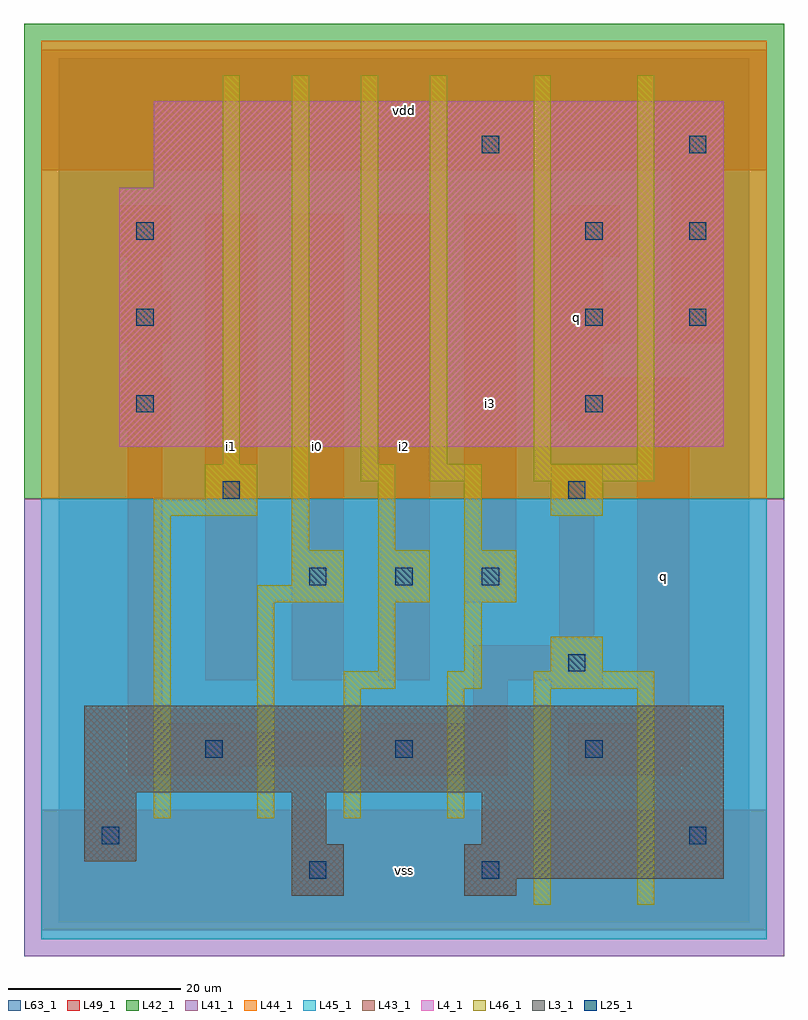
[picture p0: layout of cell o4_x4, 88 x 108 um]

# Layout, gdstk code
import gdstk
lib = gdstk.Library(unit=1e-6, precision=1e-09)
def R(c, l, rs):  # rectangles x0, y0, x1, y1
    for r in rs: c.add(gdstk.rectangle(r[:2], r[2:], *l))
def A(c, l, x, y, w, h, nx, ny, dx, dy):  # array of equal rectangles
    R(c, l, [(x+i*dx, y+j*dy, x+i*dx+w, y+j*dy+h) for i in range(nx) for j in range(ny)])
L3_1 = (3, 1)
L4_1 = (4, 1)
L25_1 = (25, 1)
L41_1 = (41, 1)
L42_1 = (42, 1)
L43_1 = (43, 1)
L44_1 = (44, 1)
L45_1 = (45, 1)
L46_1 = (46, 1)
L49_1 = (49, 1)
L63_1 = (63, 1)

o4_x4 = lib.new_cell('o4_x4')
R(o4_x4, L3_1, [(27,3,33,9), (47,3,53,5), (47,5,77,9), (3,7,9,15), (27,9,31,15), (49,9,77,15), (3,15,77,25)])
R(o4_x4, L4_1, [(7,55,77,85), (11,85,77,95)])
A(o4_x4, L25_1, 17, 19, 2, 2, 3, 1, 22, 0)
A(o4_x4, L25_1, 29, 39, 2, 2, 3, 1, 10, 0)
A(o4_x4, L25_1, 9, 59, 2, 2, 1, 3, 0, 10)
A(o4_x4, L25_1, 61, 59, 2, 2, 1, 3, 0, 10)
A(o4_x4, L25_1, 73, 69, 2, 2, 1, 3, 0, 10)
R(o4_x4, L25_1, [(29,5,31,7), (49,5,51,7), (5,9,7,11), (73,9,75,11), (59,29,61,31), (19,49,21,51), (59,49,61,51), (49,89,51,91)])
R(o4_x4, L41_1, [(-4,-4,84,49)])
R(o4_x4, L42_1, [(-4,49,84,104)])
R(o4_x4, L43_1, [(27,3,33,9), (47,3,53,5), (47,5,77,9), (3,7,9,15), (27,9,31,15), (49,9,77,15), (3,15,77,25), (7,55,77,85), (11,85,77,95)])
R(o4_x4, L44_1, [(-2,49,82,102)])
R(o4_x4, L45_1, [(-2,-2,82,49)])
A(o4_x4, L46_1, 43, 53, 2, 45, 3, 1, 12, 0)
R(o4_x4, L46_1, [(55,2,57,27), (67,2,69,27), (11,12,13,47), (23,12,25,37), (33,12,35,27), (45,12,47,27), (33,27,39,29), (45,27,49,29), (55,27,69,29), (37,29,39,37), (47,29,49,37), (57,29,63,33), (23,37,33,39), (37,37,43,43), (47,37,53,43), (27,39,33,43), (27,43,29,98), (37,43,39,51), (47,43,49,51), (11,47,23,49), (57,47,63,51), (17,49,23,53), (35,51,39,53), (43,51,49,53), (55,51,69,53), (19,53,21,98), (35,53,37,98)])
A(o4_x4, L49_1, 17, 28, 6, 54, 3, 1, 10, 0)
A(o4_x4, L49_1, 7, 57, 6, 6, 1, 3, 0, 10)
R(o4_x4, L49_1, [(-2,-1,82,13), (8,17,21,18), (37,17,52,18), (59,17,72,18), (8,18,52,22), (59,18,73,23), (8,22,21,23), (37,22,52,23), (8,23,12,57), (48,23,52,28), (67,23,73,57), (57,27,63,28), (48,28,63,32), (57,32,63,33), (58,33,62,47), (47,37,53,82), (57,47,63,53), (59,57,73,58), (57,58,73,63), (8,63,12,67), (57,63,63,67), (57,67,65,73), (71,67,77,87), (8,73,12,77), (57,73,63,77), (57,77,65,82), (59,82,65,83), (-2,87,82,101)])
R(o4_x4, L63_1, [(0,0,80,100)])
o4_x4.add(gdstk.Label('i1', (20,55), layer=49, texttype=1))
o4_x4.add(gdstk.Label('i1', (20,55), layer=49, texttype=1))
o4_x4.add(gdstk.Label('i0', (30,55), layer=49, texttype=1))
o4_x4.add(gdstk.Label('i0', (30,55), layer=49, texttype=1))
o4_x4.add(gdstk.Label('vss', (40,6), layer=49, texttype=1))
o4_x4.add(gdstk.Label('vss', (40,6), layer=49, texttype=1))
o4_x4.add(gdstk.Label('i2', (40,55), layer=49, texttype=1))
o4_x4.add(gdstk.Label('i2', (40,55), layer=49, texttype=1))
o4_x4.add(gdstk.Label('q', (60,70), layer=49, texttype=1))
o4_x4.add(gdstk.Label('i3', (50,60), layer=49, texttype=1))
o4_x4.add(gdstk.Label('q', (60,70), layer=49, texttype=1))
o4_x4.add(gdstk.Label('i3', (50,60), layer=49, texttype=1))
o4_x4.add(gdstk.Label('vdd', (40,94), layer=49, texttype=1))
o4_x4.add(gdstk.Label('vdd', (40,94), layer=49, texttype=1))
o4_x4.add(gdstk.Label('q', (70,40), layer=49, texttype=1))
o4_x4.add(gdstk.Label('q', (70,40), layer=49, texttype=1))

lib.write_gds('o4_x4.gds')
